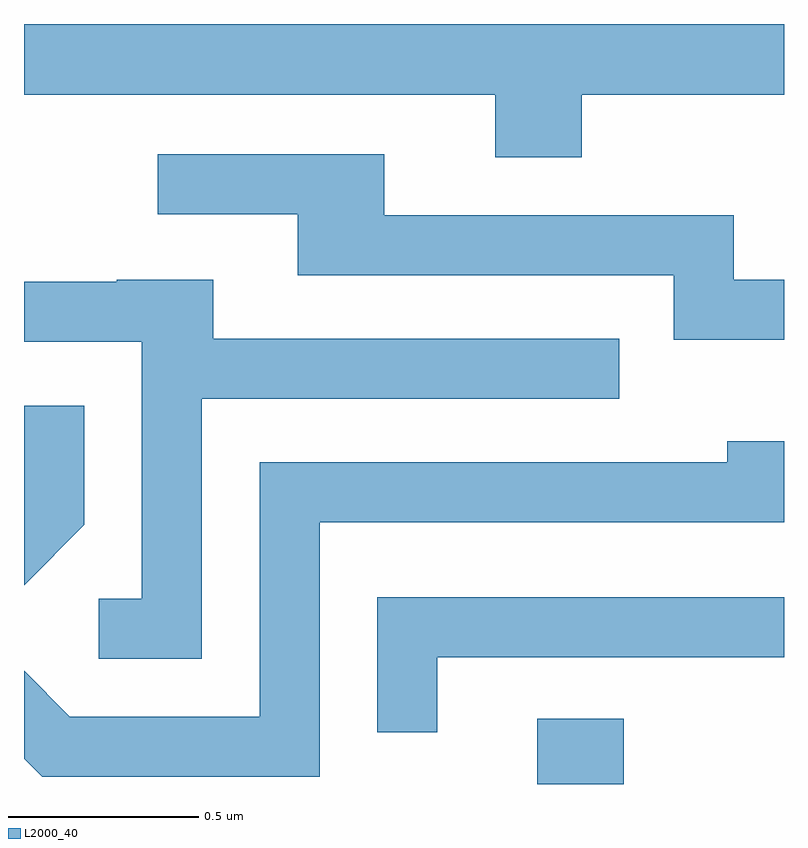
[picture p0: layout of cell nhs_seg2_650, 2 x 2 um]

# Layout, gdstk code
import gdstk
lib = gdstk.Library(unit=1e-6, precision=1e-09)
def R(c, l, rs):  # rectangles x0, y0, x1, y1
    for r in rs: c.add(gdstk.rectangle(r[:2], r[2:], *l))
def P(c, l, *ps):  # polygons
    for p in ps: c.add(gdstk.Polygon(p, *l))
L2000_40 = (2000, 40)

nhs_seg2_650 = lib.new_cell('nhs_seg2_650')
R(nhs_seg2_650, L2000_40, [(190.961,1079.802,191.189,1079.974)])
P(nhs_seg2_650, L2000_40, [(191.079,1081.616),(191.611,1081.616),(191.611,1081.802),(189.611,1081.802),(189.611,1081.616),(190.851,1081.616),(190.851,1081.451),(191.079,1081.451)],
  [(191.611,1081.129),(191.479,1081.129),(191.479,1081.299),(190.559,1081.299),(190.559,1081.459),(189.963,1081.459),(189.963,1081.301),(190.331,1081.301),(190.331,1081.141),(191.321,1081.141),(191.321,1080.971),(191.611,1080.971)],
  [(190.079,1080.816),(191.178,1080.816),(191.178,1080.974),(190.109,1080.974),(190.109,1081.129),(189.855,1081.129),(189.855,1081.124),(189.611,1081.124),(189.611,1080.966),(189.921,1080.966),(189.921,1080.289),(189.808,1080.289),(189.808,1080.131),(190.079,1080.131)],
  [(189.769,1080.484),(189.769,1080.798),(189.611,1080.798),(189.611,1080.325)],
  [(190.389,1080.491),(191.611,1080.491),(191.611,1080.704),(191.461,1080.704),(191.461,1080.649),(190.231,1080.649),(190.231,1079.979),(189.732,1079.979),(189.611,1080.1),(189.611,1079.869),(189.659,1079.821),(190.389,1079.821)],
  [(190.699,1080.136),(191.611,1080.136),(191.611,1080.294),(190.541,1080.294),(190.541,1079.938),(190.699,1079.938)])

lib.write_gds('nhs_seg2_650.gds')
